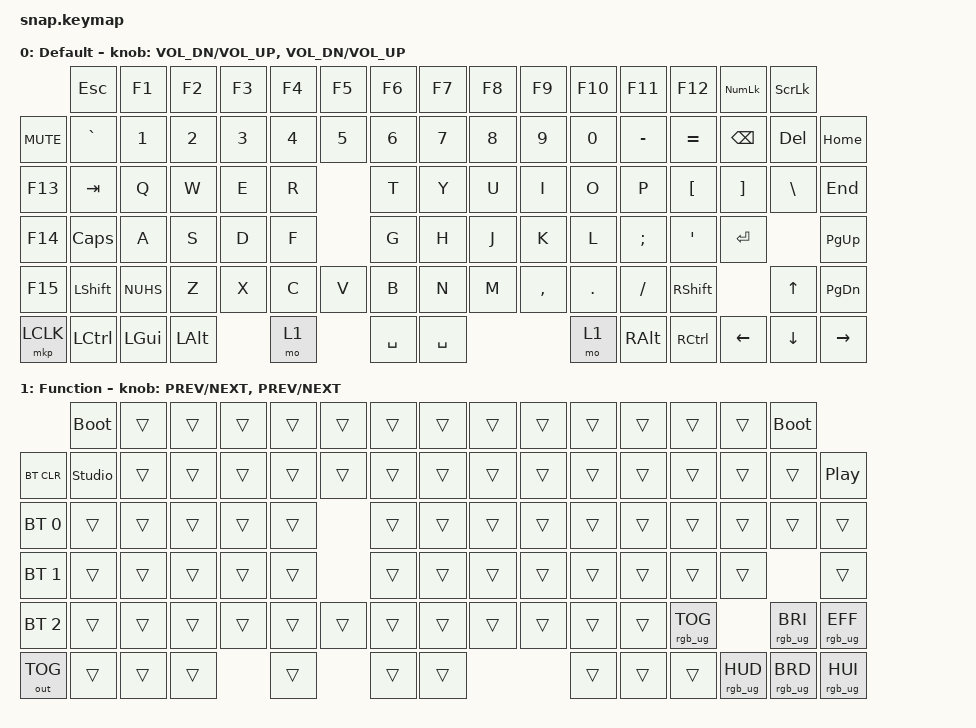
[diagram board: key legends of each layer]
/*
 * Copyright (c) 2022 The ZMK Contributors
 *
 * SPDX-License-Identifier: MIT
 */

#include <behaviors.dtsi>
#include <dt-bindings/zmk/keys.h>
#include <dt-bindings/zmk/bt.h>
#include <dt-bindings/zmk/rgb.h>
#include <dt-bindings/zmk/rgb.h>
#include <dt-bindings/zmk/mouse.h>
#include <dt-bindings/zmk/outputs.h>


/ {
	sensors {
		compatible = "zmk,keymap-sensors";
		sensors = <&left_encoder &right_encoder>;
	};

	keymap {
		compatible = "zmk,keymap";

		default_layer {
			label = "Default";
			sensor-bindings = <&inc_dec_kp C_VOL_DN C_VOL_UP &inc_dec_kp C_VOL_DN C_VOL_UP >;
			bindings = <
             &kp ESC     &kp F1   &kp F2   &kp F3   &kp F4   &kp F5   &kp F6     &kp F7   &kp F8   &kp F9    &kp F10  &kp F11     &kp F12     &kp KP_NUM   &kp SCROLLLOCK
&kp C_MUTE   &kp GRAVE   &kp N1   &kp N2   &kp N3   &kp N4   &kp N5   &kp N6     &kp N7   &kp N8   &kp N9    &kp N0   &kp MINUS   &kp EQUAL   &kp BSPC     &kp DEL    &kp HOME
&kp F13      &kp TAB     &kp Q    &kp W    &kp E    &kp R             &kp T      &kp Y    &kp U    &kp I     &kp O    &kp P       &kp LBKT    &kp RBKT     &kp BSLH   &kp END
&kp F14      &kp CLCK    &kp A    &kp S    &kp D    &kp F             &kp G      &kp H    &kp J    &kp K     &kp L    &kp SEMI    &kp SQT     &kp RET                 &kp PG_UP
&kp F15      &kp LSHFT   &kp NUHS &kp Z    &kp X    &kp C    &kp V    &kp B      &kp N    &kp M    &kp COMMA &kp DOT  &kp FSLH    &kp RSHFT                &kp UP     &kp PG_DN
&mkp LCLK      &kp LCTRL   &kp LGUI &kp LALT          &mo 1            &kp SPACE    &kp SPACE                   &mo 1    &kp RALT    &kp RCTRL   &kp LEFT     &kp DOWN   &kp RIGHT
			>;
		};

		function_layer {
			label = "Function";
			sensor-bindings = <&inc_dec_kp C_PREV C_NEXT &inc_dec_kp C_PREV C_NEXT >;
			bindings = <
             &bootloader &trans   &trans   &trans   &trans   &trans   &trans     &trans   &trans   &trans   &trans    &trans      &trans      &trans       &bootloader
&bt BT_CLR         &studio_unlock      &trans   &trans   &trans   &trans   &trans   &trans     &trans   &trans   &trans   &trans    &trans      &trans      &trans       &trans     &kp C_PP
&bt BT_SEL 0       &trans      &trans   &trans   &trans   &trans            &trans     &trans   &trans   &trans   &trans    &trans      &trans      &trans       &trans     &trans 
&bt BT_SEL 1       &trans      &trans   &trans   &trans   &trans            &trans     &trans   &trans   &trans   &trans    &trans      &trans                   &trans     &trans
&bt BT_SEL 2       &trans      &trans   &trans   &trans   &trans   &trans   &trans     &trans   &trans   &trans   &trans    &trans          &rgb_ug RGB_TOG &rgb_ug RGB_BRI &rgb_ug RGB_EFF
&out OUT_TOG       &trans      &trans   &trans            &trans           &trans       &trans                    &trans    &trans  &trans  &rgb_ug RGB_HUD &rgb_ug RGB_BRD &rgb_ug RGB_HUI
			>;
		};
	};
};
